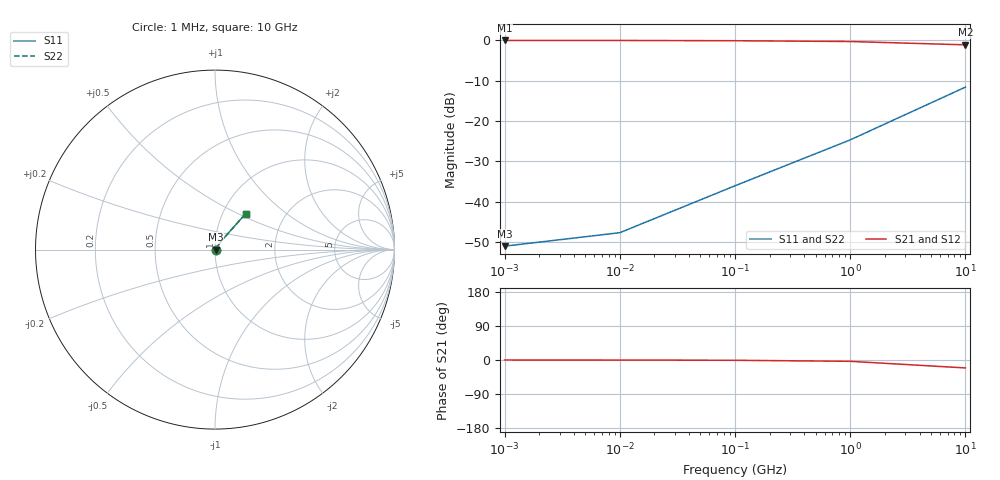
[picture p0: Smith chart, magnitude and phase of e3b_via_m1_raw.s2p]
! Sonnet Data File
! From: em Version : 18.53-Lite
! From Project: e3b_via_m1
! Data is NOT De-embedded
! Data File Written: 10/12/2026 13:35:20
!< HDATE 10/12/2026 13:35:20
!< MDATE 10/12/2026 13:35:20
# GHZ S RI R 50.00000
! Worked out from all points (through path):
!   5 points, 1 MHz to 10 GHz, reference 50 ohm
!   highest |S21| = -0.02 dB at 1 MHz (marker M1); lowest = -1.1 dB at 10 GHz (marker M2)
!   lowest |S11| = -51.0 dB at 1 MHz (marker M3), VSWR 1.01, Z = 50.3 + j0.0271 ohm
!   |S11| at or under -10 dB: start of sweep to end of sweep
!   |S22| runs from -51.0 to -11.6 dB; largest |S21 - S12| = 1e-13
0.001  0.0028 0.000269  0.9972 -0.000281  0.9972 -0.000281  0.0028 0.000269
0.01  0.00322 0.00258  0.9968 -0.00269  0.9968 -0.00269  0.00322 0.00258
0.1  0.0104 0.0119  0.9896 -0.013  0.9896 -0.013  0.0104 0.0119
1  0.0344 0.0472  0.9655 -0.0586  0.9655 -0.0586  0.0344 0.0472
10  0.1708 0.2001  0.8223 -0.3147  0.8223 -0.3147  0.1708 0.2001
